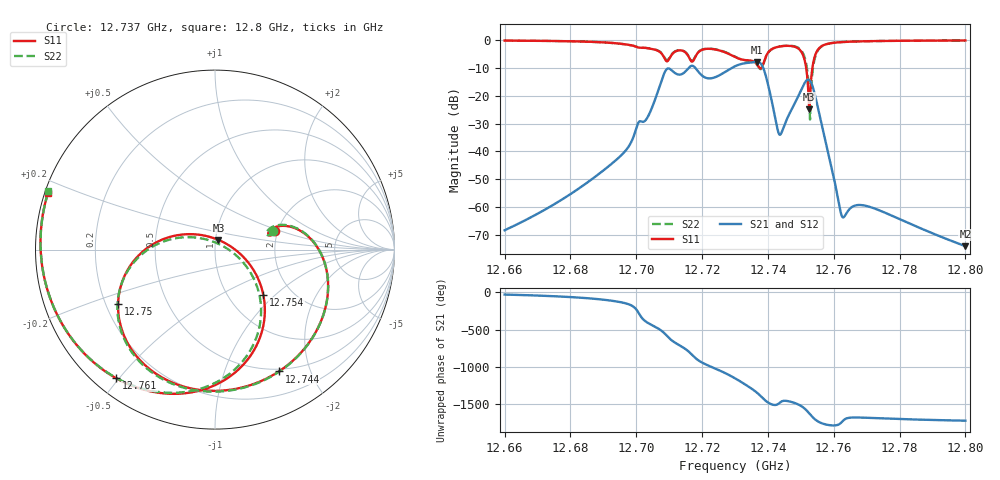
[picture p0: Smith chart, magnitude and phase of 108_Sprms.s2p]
! TOUCHSTONE file generated by CST MICROWAVE STUDIO
! Date and time: Wed Jul 31 16:13:10 2024
! Project name: WaveGuide_BPF-Ver4.1_U-shape_Ku_T3_C4_CWA_2.cst
! Parameters = {cavity_h=16; cavity_l0=10; cavity_l1=15.2128; cavity_l2=16.8596; cavity_l3=17.0945; cavity_l4=17.2511; cavity_l5=17.1711; cavity_l6=17.625; cavity_r=2.5; cavity_screw_l=0.5; cavity_screw_r=1.5; cavity_w=8; iris_h00=0; iris_h01=8.8203; iris_h112=0; iris_h12=5.6138; iris_h211=3.6531; i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
! Header version: 2018
! Port assignment regex: !\s*Touchstone port\s*([0-9]+)\s*=\s*(CST MWS port|CST DS port)\s*([0-9]+|Zmin|Zmax)\s*\(\"(.*)\"\)(\s*mode\s*([0-9]+))?.*
! Touchstone port assignment:
! Touchstone port 1 = CST MWS port 1 ("")
! Touchstone port 2 = CST MWS port 2 ("")
# GHz S RI R 50
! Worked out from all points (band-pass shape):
!   5001 points, 12.66 GHz to 12.8 GHz, reference 50 ohm
!   highest |S21| = -7.84 dB at 12.737 GHz (marker M1); lowest = -74.1 dB at 12.8 GHz (marker M2)
!   |S21| within 3 dB of the highest: 12.71529 GHz to 12.71852 GHz (3.228 MHz wide, 0.0254 % of centre); 12.72782 GHz to 12.73884 GHz (11.02 MHz wide, 0.0865 % of centre) (the widest 2 of 3)
!   lowest |S11| = -24.9 dB at 12.753 GHz (marker M3), VSWR 1.12, Z = 51.7 + j5.58 ohm
!   |S11| at or under -10 dB: 12.73747 GHz to 12.73806 GHz (590.4 kHz wide, 0.00464 % of centre); 12.75162 GHz to 12.75351 GHz (1.889 MHz wide, 0.0148 % of centre)
!   |S22| runs from -28.6 to -0.1 dB; largest |S21 - S12| = 1e-09
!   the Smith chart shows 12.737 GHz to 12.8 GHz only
!   S11 on the Smith chart (normalised r, x): 12.737 GHz: 1.93, +0.45; 12.744 GHz: 0.47, -1.55; 12.75 GHz: 0.25, -0.24; 12.754 GHz: 1.45, -0.84; 12.761 GHz: 0.06, -0.49; 12.8 GHz: 0.01, +0.17
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12.66  0.4047 0.8897  0.000334 -0.000186  0.000334 -0.000186  0.4118 0.8863
12.68335  0.855 0.3928  0.000702 -0.00221  0.000702 -0.00221  0.8598 0.3813
12.69951  0.2475 -0.7358  -0.0189 0.00902  -0.0189 0.00902  0.2274 -0.7427
12.70668  -0.6369 0.038  -0.0731 -0.1003  -0.0731 -0.1003  -0.6425 0.0486
12.71348  -0.0262 0.6513  0.2404 -0.00503  0.2404 -0.00503  -0.0194 0.6564
12.71796  0.2274 0.4464  -0.3009 -0.0942  -0.3009 -0.0942  0.2388 0.4499
12.72199  0.6958 0.0309  -0.012 0.2044  -0.012 0.2044  0.6996 0.0324
12.72642  0.1521 -0.6007  0.2531 0.0312  0.2531 0.0312  0.1717 -0.6018
12.73  -0.4676 -0.1691  0.0826 -0.3279  0.0826 -0.3279  -0.4595 -0.2014
12.73342  -0.0927 0.4242  -0.378 -0.0805  -0.378 -0.0805  -0.1185 0.4128
12.73658  0.3442 0.1422  -0.0302 0.4042  -0.0302 0.4042  0.3354 0.1466
12.73694  0.3334 0.1025  0.0651 0.3986  0.0651 0.3986  0.3255 0.1058
12.74361  0.3558 -0.6789  0.0144 -0.0137  0.0144 -0.0137  0.363 -0.6766
12.75013  -0.54 -0.301  0.000696 -0.1281  0.000696 -0.1281  -0.5425 -0.356
12.75257  0.0193 0.0538  -0.1898 0.026  -0.1898 0.026  -0.0644 0.0601
12.75335  0.2292 -0.1394  -0.1093 0.1169  -0.1093 0.1169  0.1776 -0.0976
12.75369  0.269 -0.2511  -0.0646 0.1242  -0.0646 0.1242  0.2346 -0.2072
12.7608  -0.5497 -0.7171  0.00196 0.000446  0.00196 0.000446  -0.5611 -0.7086
12.76284  -0.6711 -0.6325  0.000177 0.000626  0.000177 0.000626  -0.6809 -0.6227
12.77668  -0.9559 -0.1339  -0.000145 0.000728  -0.000145 0.000728  -0.9575 -0.1238
12.79994  -0.9303 0.3167  5.49e-05 0.000191  5.49e-05 0.000191  -0.928 0.3238
12.8  -0.9301 0.3174  5.49e-05 0.000191  5.49e-05 0.000191  -0.9278 0.3245
